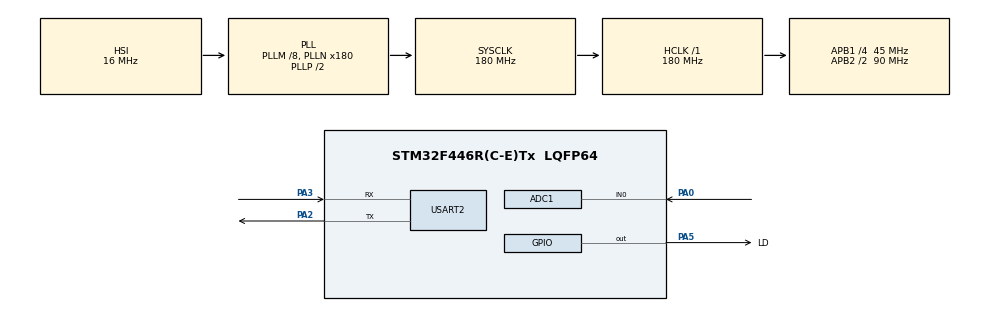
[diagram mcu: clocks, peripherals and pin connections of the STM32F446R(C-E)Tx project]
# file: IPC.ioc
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ADC1.Channel-0\#ChannelRegularConversion=ADC_CHANNEL_0
ADC1.Channel-1\#ChannelRegularConversion=ADC_CHANNEL_TEMPSENSOR
ADC1.ContinuousConvMode=DISABLE
ADC1.ExternalTrigConv=ADC_SOFTWARE_START
ADC1.NbrOfConversion=2
ADC1.NbrOfConversionFlag=1
ADC1.Rank-0\#ChannelRegularConversion=1
ADC1.Rank-1\#ChannelRegularConversion=2
ADC1.SamplingTime-0\#ChannelRegularConversion=ADC_SAMPLETIME_480CYCLES
ADC1.SamplingTime-1\#ChannelRegularConversion=ADC_SAMPLETIME_480CYCLES
ADC1.ScanConvMode=ENABLE
ADC1.master=1
Dma.ADC1.0.Direction=DMA_PERIPH_TO_MEMORY
Dma.ADC1.0.FIFOMode=DMA_FIFOMODE_DISABLE
Dma.ADC1.0.Instance=DMA2_Stream0
Dma.ADC1.0.MemDataAlignment=DMA_MDATAALIGN_HALFWORD
Dma.ADC1.0.MemInc=DMA_MINC_ENABLE
Dma.ADC1.0.Mode=DMA_CIRCULAR
Dma.ADC1.0.PeriphDataAlignment=DMA_PDATAALIGN_HALFWORD
Dma.ADC1.0.PeriphInc=DMA_PINC_DISABLE
Dma.ADC1.0.Priority=DMA_PRIORITY_LOW
Dma.Request0=ADC1
FREERTOS.Tasks01=ADC_task,0,256,start_ADC_task,Default,NULL,Dynamic,NULL,NULL;UART_task,0,128,start_UART_task,Default,NULL,Dynamic,NULL,NULL
FREERTOS.configCHECK_FOR_STACK_OVERFLOW=2
FREERTOS.configENABLE_FPU=1
FREERTOS.configRECORD_STACK_HIGH_ADDRESS=1
FREERTOS.configUSE_NEWLIB_REENTRANT=1
FREERTOS.configUSE_POSIX_ERRNO=1
FREERTOS.configUSE_TIMERS=1
Mcu.Family=STM32F4
Mcu.Name=STM32F446R(C-E)Tx
Mcu.Package=LQFP64
NVIC.DMA2_Stream0_IRQn=true\:5\:0\:false\:false\:true\:true\:false\:true\:true
NVIC.PriorityGroup=NVIC_PRIORITYGROUP_4
NVIC.TIM1_UP_TIM10_IRQn=true\:15\:0\:false\:false\:true\:false\:false\:true\:true
NVIC.TimeBase=TIM1_UP_TIM10_IRQn
NVIC.TimeBaseIP=TIM10
PA0-WKUP.Signal=ADCx_IN0
PA13.Mode=Serial_Wire
PA13.Signal=SYS_JTMS-SWDIO
PA14.Mode=Serial_Wire
PA14.Signal=SYS_JTCK-SWCLK
PA2.Mode=Asynchronous
PA2.Signal=USART2_TX
PA3.Mode=Asynchronous
PA3.Signal=USART2_RX
PA5.GPIO_Label=LD
PA5.Signal=GPIO_Output
PH0-OSC_IN.Mode=HSE-External-Oscillator
PH0-OSC_IN.Signal=RCC_OSC_IN
PH1-OSC_OUT.Mode=HSE-External-Oscillator
PH1-OSC_OUT.Signal=RCC_OSC_OUT
ProjectManager.HeapSize=0x200
ProjectManager.StackSize=0x400
ProjectManager.TargetToolchain=STM32CubeIDE
RCC.48MHZClocksFreq_Value=84000000
RCC.AHBFreq_Value=180000000
RCC.APB1CLKDivider=RCC_HCLK_DIV4
RCC.APB1Freq_Value=45000000
RCC.APB1TimFreq_Value=90000000
RCC.APB2CLKDivider=RCC_HCLK_DIV2
RCC.APB2Freq_Value=90000000
RCC.APB2TimFreq_Value=180000000
RCC.CortexFreq_Value=180000000
RCC.FLatency-AdvancedSettings=FLASH_LATENCY_5
RCC.HCLKFreq_Value=180000000
RCC.HSE_VALUE=8000000
RCC.HSI_VALUE=16000000
RCC.PLLM=8
RCC.PLLN=180
RCC.SYSCLKFreq_VALUE=180000000
RCC.SYSCLKSource=RCC_SYSCLKSOURCE_PLLCLK
RCC.USBFreq_Value=180000000
RCC.VCOOutputFreq_Value=360000000
SH.ADCx_IN0.0=ADC1_IN0,IN0
TIM2.Period=99999
TIM2.Prescaler=17
USART2.VirtualMode=VM_ASYNC
VP_ADC1_TempSens_Input.Mode=IN-TempSens
VP_FREERTOS_VS_CMSIS_V1.Mode=CMSIS_V1
VP_SYS_VS_tim10.Mode=TIM10
VP_TIM2_VS_ClockSourceINT.Mode=Internal
board=NUCLEO-F446RE

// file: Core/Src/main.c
/* USER CODE BEGIN Header */
/**
  ******************************************************************************
  * @file           : main.c
  * @brief          : Main program body
  ******************************************************************************
  * @attention
  *
  * Copyright (c) 2023 STMicroelectronics.
  * All rights reserved.
  *
  * This software is licensed under terms that can be found in the LICENSE file
  * in the root directory of this software component.
  * If no LICENSE file comes with this software, it is provided AS-IS.
  *
  ******************************************************************************
  */
/* USER CODE END Header */
#include "main.h"
#include "cmsis_os.h"
#include "adc.h"
#include "dma.h"
#include "tim.h"
#include "usart.h"
#include "gpio.h"

/* USER CODE BEGIN PV */
extern uint16_t adc_value;
/* USER CODE END PV */

void SystemClock_Config(void);
void MX_FREERTOS_Init(void);

int main(void)
{

  /* MCU Configuration--------------------------------------------------------*/

  /* Reset of all peripherals, Initializes the Flash interface and the Systick. */
  HAL_Init();

  /* Configure the system clock */
  SystemClock_Config();

  /* Initialize all configured peripherals */
  MX_GPIO_Init();
  MX_DMA_Init();
  MX_ADC1_Init();
  MX_TIM2_Init();
  MX_USART2_UART_Init();

  /* Call init function for freertos objects (in freertos.c) */
  MX_FREERTOS_Init();

  /* Start scheduler */
  osKernelStart();

  /* We should never get here as control is now taken by the scheduler */
  /* Infinite loop */
  while (1)
  {

  }
}

void SystemClock_Config(void)
{
  RCC_OscInitTypeDef RCC_OscInitStruct = {0};
  RCC_ClkInitTypeDef RCC_ClkInitStruct = {0};

  /** Configure the main internal regulator output voltage
  */
  __HAL_RCC_PWR_CLK_ENABLE();
  __HAL_PWR_VOLTAGESCALING_CONFIG(PWR_REGULATOR_VOLTAGE_SCALE1);

  /** Initializes the RCC Oscillators according to the specified parameters
  * in the RCC_OscInitTypeDef structure.
  */
  RCC_OscInitStruct.OscillatorType = RCC_OSCILLATORTYPE_HSI;
  RCC_OscInitStruct.HSIState = RCC_HSI_ON;
  RCC_OscInitStruct.HSICalibrationValue = RCC_HSICALIBRATION_DEFAULT;
  RCC_OscInitStruct.PLL.PLLState = RCC_PLL_ON;
  RCC_OscInitStruct.PLL.PLLSource = RCC_PLLSOURCE_HSI;
  RCC_OscInitStruct.PLL.PLLM = 8;
  RCC_OscInitStruct.PLL.PLLN = 180;
  RCC_OscInitStruct.PLL.PLLP = RCC_PLLP_DIV2;
  RCC_OscInitStruct.PLL.PLLQ = 2;
  RCC_OscInitStruct.PLL.PLLR = 2;
  if (HAL_RCC_OscConfig(&RCC_OscInitStruct) != HAL_OK)
  {
    Error_Handler();
  }

  /** Activate the Over-Drive mode
  */
  if (HAL_PWREx_EnableOverDrive() != HAL_OK)
  {
    Error_Handler();
  }

  /** Initializes the CPU, AHB and APB buses clocks
  */
  RCC_ClkInitStruct.ClockType = RCC_CLOCKTYPE_HCLK|RCC_CLOCKTYPE_SYSCLK
                              |RCC_CLOCKTYPE_PCLK1|RCC_CLOCKTYPE_PCLK2;
  RCC_ClkInitStruct.SYSCLKSource = RCC_SYSCLKSOURCE_PLLCLK;
  RCC_ClkInitStruct.AHBCLKDivider = RCC_SYSCLK_DIV1;
  RCC_ClkInitStruct.APB1CLKDivider = RCC_HCLK_DIV4;
  RCC_ClkInitStruct.APB2CLKDivider = RCC_HCLK_DIV2;

  if (HAL_RCC_ClockConfig(&RCC_ClkInitStruct, FLASH_LATENCY_5) != HAL_OK)
  {
    Error_Handler();
  }
}

void HAL_TIM_PeriodElapsedCallback(TIM_HandleTypeDef *htim)
{
  if (htim->Instance == TIM10) {
    HAL_IncTick();
  }
}

void Error_Handler(void)
{
  __disable_irq();
  while (1)
  {
  }
}

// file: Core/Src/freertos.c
/* USER CODE BEGIN Header */
/**
  ******************************************************************************
  * File Name          : freertos.c
  * Description        : Code for freertos applications
  ******************************************************************************
  * @attention
  *
  * Copyright (c) 2023 STMicroelectronics.
  * All rights reserved.
  *
  * This software is licensed under terms that can be found in the LICENSE file
  * in the root directory of this software component.
  * If no LICENSE file comes with this software, it is provided AS-IS.
  *
  ******************************************************************************
  */
/* USER CODE END Header */

#include "FreeRTOS.h"
#include "task.h"
#include "main.h"
#include "cmsis_os.h"

/* USER CODE BEGIN Variables */
uint16_t adc_value[2];  // 0 - 0 channel; 1 - temperature
TimerHandle_t Timer;
void vTimerCallback( TimerHandle_t Timer );
extern ADC_HandleTypeDef hadc1;
extern ADC_HandleTypeDef* adcHandle;
/* USER CODE END Variables */
osThreadId ADC_taskHandle;
osThreadId UART_taskHandle;

void start_ADC_task(void const * argument);
void start_UART_task(void const * argument);

void MX_FREERTOS_Init(void); /* (MISRA C 2004 rule 8.1) */

/* GetIdleTaskMemory prototype (linked to static allocation support) */
void vApplicationGetIdleTaskMemory( StaticTask_t **ppxIdleTaskTCBBuffer, StackType_t **ppxIdleTaskStackBuffer, uint32_t *pulIdleTaskStackSize );

/* GetTimerTaskMemory prototype (linked to static allocation support) */
void vApplicationGetTimerTaskMemory( StaticTask_t **ppxTimerTaskTCBBuffer, StackType_t **ppxTimerTaskStackBuffer, uint32_t *pulTimerTaskStackSize );

/* Hook prototypes */
void vApplicationStackOverflowHook(xTaskHandle xTask, signed char *pcTaskName);

/* USER CODE BEGIN 4 */
__weak void vApplicationStackOverflowHook(xTaskHandle xTask, signed char *pcTaskName)
{
   /* Run time stack overflow checking is performed if
   configCHECK_FOR_STACK_OVERFLOW is defined to 1 or 2. This hook function is
   called if a stack overflow is detected. */
}
/* USER CODE END 4 */

/* USER CODE BEGIN GET_IDLE_TASK_MEMORY */
static StaticTask_t xIdleTaskTCBBuffer;
static StackType_t xIdleStack[configMINIMAL_STACK_SIZE];

void vApplicationGetIdleTaskMemory( StaticTask_t **ppxIdleTaskTCBBuffer, StackType_t **ppxIdleTaskStackBuffer, uint32_t *pulIdleTaskStackSize )
{
  *ppxIdleTaskTCBBuffer = &xIdleTaskTCBBuffer;
  *ppxIdleTaskStackBuffer = &xIdleStack[0];
  *pulIdleTaskStackSize = configMINIMAL_STACK_SIZE;
  /* place for user code */
}
/* USER CODE END GET_IDLE_TASK_MEMORY */

/* USER CODE BEGIN GET_TIMER_TASK_MEMORY */
static StaticTask_t xTimerTaskTCBBuffer;
static StackType_t xTimerStack[configTIMER_TASK_STACK_DEPTH];

void vApplicationGetTimerTaskMemory( StaticTask_t **ppxTimerTaskTCBBuffer, StackType_t **ppxTimerTaskStackBuffer, uint32_t *pulTimerTaskStackSize )
{
  *ppxTimerTaskTCBBuffer = &xTimerTaskTCBBuffer;
  *ppxTimerTaskStackBuffer = &xTimerStack[0];
  *pulTimerTaskStackSize = configTIMER_TASK_STACK_DEPTH;
  /* place for user code */
}
/* USER CODE END GET_TIMER_TASK_MEMORY */

void MX_FREERTOS_Init(void) {

  /* Create the thread(s) */
  /* definition and creation of ADC_task */
  osThreadDef(ADC_task, start_ADC_task, osPriorityNormal, 0, 256);
  ADC_taskHandle = osThreadCreate(osThread(ADC_task), NULL);

  /* definition and creation of UART_task */
  osThreadDef(UART_task, start_UART_task, osPriorityNormal, 0, 128);
  UART_taskHandle = osThreadCreate(osThread(UART_task), NULL);

}

void start_ADC_task(void const * argument)
{
  /* USER CODE BEGIN start_ADC_task */
	Timer = xTimerCreate("Timer", 500, pdTRUE, ( void * ) 0, vTimerCallback);
	                     /* The ID is used to store a count of the
	                     number of times the timer has expired, which
	                     is initialised to 0. */
	                     // ( void * ) 0,
	xTimerStart(Timer, 0);
  /* Infinite loop */
  for(;;)
  {
    osDelay(1);
  }
  /* USER CODE END start_ADC_task */
}

/* USER CODE BEGIN Header_start_UART_task */
/**
* @brief Function implementing the UART_task thread.
* @param argument: Not used
* @retval None
*/
char c[16] = {};
extern UART_HandleTypeDef huart2;

int __io_putchar(int ch) {
	HAL_UART_Transmit(&huart2, (uint8_t *)&ch, 1, 0xFFFF);
	return ch;
}
/* USER CODE END Header_start_UART_task */
void start_UART_task(void const * argument)
{
  /* USER CODE BEGIN start_UART_task */
  /* Infinite loop */
	for(int i = 0;;i++)
	{
		osDelay(500);
		HAL_GPIO_TogglePin(LD_GPIO_Port, LD_Pin);
		itoa(i%10, c, 10);
		printf("%c\n",c[0]);
	}
  /* USER CODE END start_UART_task */
}

/* USER CODE BEGIN Application */
void vTimerCallback( TimerHandle_t Timer )
 {
// const uint32_t ulMaxExpiryCountBeforeStopping = 10;
 uint32_t ulCount;

    /* Optionally do something if the pxTimer parameter is NULL. */
    configASSERT( Timer );

    /* The number of times this timer has expired is saved as the
    timer's ID.  Obtain the count. */
    ulCount = ( uint32_t ) pvTimerGetTimerID( Timer );

    /* Increment the count, then test to see if the timer has expired
    ulMaxExpiryCountBeforeStopping yet. */
    ulCount++;

//    /* If the timer has expired 10 times then stop it from running. */
//    if( ulCount >= ulMaxExpiryCountBeforeStopping )
//    {
//        /* Do not use a block time if calling a timer API function
//        from a timer callback function, as doing so could cause a
//        deadlock! */
//        xTimerStop( Timer, 0 );
//    }
//    else
//    {
//       /* Store the incremented count back into the timer's ID field
//       so it can be read back again the next time this software timer
//       expires. */
//       vTimerSetTimerID( Timer, ( void * ) ulCount );
//    }
    HAL_GPIO_TogglePin(LD_GPIO_Port, LD_Pin);

    HAL_ADC_Start(&hadc1);
    HAL_ADC_PollForConversion(&hadc1, 10);
	// adc_value[0] = (uint16_t)HAL_ADC_GetValue(&hadc1);
	adc_value[1] = (uint16_t)HAL_ADC_GetValue(&hadc1);

	HAL_ADC_PollForConversion(&hadc1, 10);
	adc_value[0]=(uint16_t)HAL_ADC_GetValue(&hadc1);

	HAL_ADC_Stop(&hadc1);
 }
/* USER CODE END Application */
